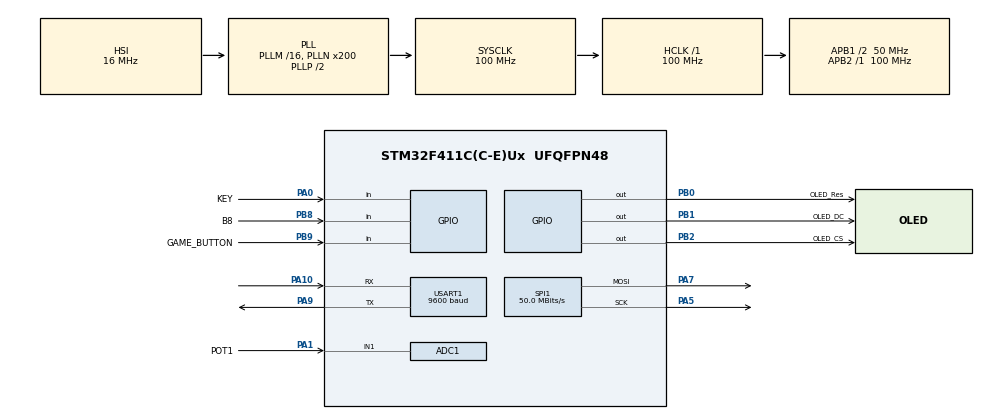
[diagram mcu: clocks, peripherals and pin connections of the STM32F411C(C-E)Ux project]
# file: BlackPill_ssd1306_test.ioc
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ADC1.Channel-0\#ChannelRegularConversion=ADC_CHANNEL_1
ADC1.NbrOfConversionFlag=1
ADC1.Rank-0\#ChannelRegularConversion=1
ADC1.SamplingTime-0\#ChannelRegularConversion=ADC_SAMPLETIME_3CYCLES
ADC1.master=1
Mcu.Family=STM32F4
Mcu.Name=STM32F411C(C-E)Ux
Mcu.Package=UFQFPN48
NVIC.PriorityGroup=NVIC_PRIORITYGROUP_4
NVIC.USART1_IRQn=true\:0\:0\:false\:false\:true\:true\:true\:true
PA0-WKUP.GPIO_Label=KEY
PA0-WKUP.GPIO_PuPd=GPIO_PULLUP
PA0-WKUP.Signal=GPIO_Input
PA1.GPIO_Label=POT1
PA1.Signal=ADCx_IN1
PA10.Mode=Asynchronous
PA10.Signal=USART1_RX
PA13.Mode=Serial_Wire
PA13.Signal=SYS_JTMS-SWDIO
PA14.Mode=Serial_Wire
PA14.Signal=SYS_JTCK-SWCLK
PA5.GPIO_PuPd=GPIO_PULLUP
PA5.Mode=TX_Only_Simplex_Unidirect_Master
PA5.Signal=SPI1_SCK
PA7.GPIO_PuPd=GPIO_PULLUP
PA7.Mode=TX_Only_Simplex_Unidirect_Master
PA7.Signal=SPI1_MOSI
PA9.Mode=Asynchronous
PA9.Signal=USART1_TX
PB0.GPIO_Label=OLED_Res
PB0.Signal=GPIO_Output
PB1.GPIO_Label=OLED_DC
PB1.Signal=GPIO_Output
PB2.GPIO_Label=OLED_CS
PB2.Signal=GPIO_Output
PB6.GPIO_Label=B6_SCL
PB6.Signal=I2C1_SCL
PB7.GPIO_Label=B7_SDA
PB7.Signal=I2C1_SDA
PB8.GPIO_Label=B8
PB8.Signal=GPIO_Input
PB9.GPIO_Label=GAME_BUTTON
PB9.GPIO_PuPd=GPIO_PULLUP
PB9.Signal=GPIO_Input
PC14-OSC32_IN.Mode=LSE-External-Oscillator
PC14-OSC32_IN.Signal=RCC_OSC32_IN
PC15-OSC32_OUT.Mode=LSE-External-Oscillator
PC15-OSC32_OUT.Signal=RCC_OSC32_OUT
PH0\ -\ OSC_IN.Mode=HSE-External-Oscillator
PH0\ -\ OSC_IN.Signal=RCC_OSC_IN
PH1\ -\ OSC_OUT.Mode=HSE-External-Oscillator
PH1\ -\ OSC_OUT.Signal=RCC_OSC_OUT
ProjectManager.HeapSize=0x200
ProjectManager.StackSize=0x400
ProjectManager.TargetToolchain=STM32CubeIDE
RCC.48MHZClocksFreq_Value=50000000
RCC.AHBFreq_Value=100000000
RCC.APB1CLKDivider=RCC_HCLK_DIV2
RCC.APB1Freq_Value=50000000
RCC.APB1TimFreq_Value=100000000
RCC.APB2Freq_Value=100000000
RCC.APB2TimFreq_Value=100000000
RCC.CortexFreq_Value=100000000
RCC.HCLKFreq_Value=100000000
RCC.HSE_VALUE=25000000
RCC.HSI_VALUE=16000000
RCC.PLLN=200
RCC.SYSCLKFreq_VALUE=100000000
RCC.SYSCLKSource=RCC_SYSCLKSOURCE_PLLCLK
RCC.VCOOutputFreq_Value=200000000
SH.ADCx_IN1.0=ADC1_IN1,IN1
SPI1.BaudRatePrescaler=SPI_BAUDRATEPRESCALER_2
SPI1.CLKPolarity=SPI_POLARITY_HIGH
SPI1.CalculateBaudRate=50.0 MBits/s
SPI1.Direction=SPI_DIRECTION_2LINES
SPI1.Mode=SPI_MODE_MASTER
SPI1.VirtualType=VM_MASTER
USART1.BaudRate=9600
USART1.VirtualMode=VM_ASYNC
board=custom

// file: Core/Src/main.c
/* USER CODE BEGIN Header */
/**
  * ****************************************************************************
  *
  * This is a simple implementation of the game BOUNCE!
  * It's a dumbed down version of the Breakout game invented by Steve Wozniak.
  * The game has no bricks at the top and the goal is just to bounce the ball
  * arround for as long as possible. Depending on which region of the paddle the
  * ball hits, you can get different amounts of points.
  *
  * This code is really basic, but I tried to comment this code as much as
  * possible. Feel free to modify and add functionalities.
  *
  * The purpose of this simple game implementations is to make use of the
  * ssd1306 oled 64p x 128p 0.96'' module with the STM32F411 (Black Pill) or
  * any STM32 board, provided that you modify the <ssd1306_BlackPill_conf.h> to
  * the device you are using.
  *
  * Here we use the SPI1 peripheral with 2 as the pre-scaler, but make it slower
  * if you need to. Use PA5 (Clock) and PA7(MOSI) as the SPI1 pins and turn the
  * pull-ups ON.
  *
  * PB0 is attached to the Res Pin of the Display.
  * PB1 is attached to the DC Pin of the Display.
  * PB2 is attached to the CS Pin of the Display.
  * PB9 is attached to the button and is called GAME_BUTTON with the pull-up ON.
  * 	When the button is pushed, it has to pull the pin down.
  * PA1 is attached to the center tap of the potentiometer.
  *
  * Code by ISAAC JERÔNIMO MOREIRA
  *
  * January 9th, 2023
  * Fortaleza, Ceará, Brasil
  *
  * ****************************************************************************
  *
  * The ssd1306 library was originally written by Olivier Van den Eede (4ilo) in
  * 2016.
  * Some refactoring was done and SPI support was added by Aleksander Alekseev
  * (afiskon) in 2018.
  *
  * *****************************************************************************
  */
/* USER CODE END Header */
#include "main.h"

/* USER CODE BEGIN Includes */
#include <stdio.h>
#include "ssd1306.h"

/* USER CODE END Includes */

/* USER CODE BEGIN PTD */
/*
	 * In order to understand this, bare in mind that the display begins it's coordinate system at the top left corner
	 * where the X and Y coordinates are 0.
	 * */
	#define edgeOffset 3 //Defines the offset of the border. It's equals the radius of the ball plus one pixel
	#define leftBorder edgeOffset // Defines the boundaries of the left border
	#define rightBorder (SSD1306_WIDTH - edgeOffset) // Defines the boundaries of the right Border. It's equals the Display Width minus the Edge Offset
	#define topBorder edgeOffset // Same as leftBorder
	#define bottonBorder (SSD1306_HEIGHT - edgeOffset) // Same logic as rightBorder
	#define paddleYborder (SSD1306_HEIGHT - edgeOffset - 1) // The Paddle is 1 pixel higher than the botton border.
	#define maxLife 5 // Every player starts with the maximum number of lives. Change this as you please,
	                  // or create a logic in game that can change this in different levels.
	#define adcmaxval 4096 // This is the resolution of the ADC inside the STM32 (12-bits)
	#define paddlelength 32 // This is the length of the paddle. Feel free to change it or create a logic in game that can change this in different levels.
	#define PotConverter (SSD1306_WIDTH - paddlelength)/adcmaxval // Just a small MAP function to convert the value read from the potentiometer
	                                                              // and convert it to the resolution of the screen. Feel free to change it as you need it.
	#define paddleCorner 6 // Defines the size of the corners of the paddle. The corners reflect the ball in a different way and give more points to the player
	#define MaxRefreshPeriod 50 // The speed of the game is ruled by a delay at the end of the loop. It's crude, but it works.

/* USER CODE END PTD */

ADC_HandleTypeDef hadc1;

SPI_HandleTypeDef hspi1;

UART_HandleTypeDef huart1;

/* USER CODE BEGIN PV */

// 8-Bits Unsigned Variables

uint8_t Xpos = edgeOffset, // Variable that tracks the X coordinate of the ball.
		Ypos = edgeOffset, // Variable that tracks the Y coordinate of the ball.
		Xvelocity = 3, // X component of the ball velocity.
		Yvelocity = 2, // Y component of the ball velocity.
		BGNDcolour = White, // Background colour
		ELMTScolour = Black, // Colour of the graphic elements;
		InGame = 0, // Flag that signals if the game is beeing played (1) or not (0).
		GameStarted = 0, //Flag that signals if the game has ever started (1) or not (0)
		playerLifenum = maxLife; // Variable to keep track of the playes lifes, initiated at the maximum.

// 16-Bits Unsignd Variables

  uint16_t paddlePos; // The position of the Paddle has to be 16 bits this variable is used multiple times
                      // to convert the 12-Bits ADC value read from the potentiometer to the correct range.
                      // We do this in order to conserve RAM as good practice, though this program isn't
                      // very complex or big;

// 32-Bites unsigned Variables (ARM-32)
  int StartTime = 0, // Stores the TickTimer current value. This number can be huge, so an INT is needed.
	  PresentTime = 0; // Keeps track of the time elapsed from the start of the game to the current time.
                       // Maybe the player is very good and has infinite patience to play this very exciting game
                       // so we have to accommodate them.

// Float Variables

  float potVal = 0;// It has to be a float in order to receive a multiplication by a float later. It will all make sense soon, I promise

// Signed Integer Variables

  signed int PaddleInteractions = 0,// keeps track of the paddle interactions to build the score
		         playerScorenum = 0, //keeps track of the score
			       topScorenum = 0, // keeps track of the highest score after each game
			       RefreshPeriod = MaxRefreshPeriod; // Used to control the refresh rate of the game.

  // Text buffers
  char playerLifetext[20], // Used to store the text converted from the number of Lives remaining
       playerScoretext[20], //Same logic
	     topScoretext[30]; // Same logic

/* USER CODE END PV */

void SystemClock_Config(void);
static void MX_GPIO_Init(void);
static void MX_SPI1_Init(void);
static void MX_USART1_UART_Init(void);
static void MX_ADC1_Init(void);

int main(void)
{

  /* MCU Configuration--------------------------------------------------------*/

  /* Reset of all peripherals, Initializes the Flash interface and the Systick. */
  HAL_Init();

  /* Configure the system clock */
  SystemClock_Config();

  /* Initialize all configured peripherals */
  MX_GPIO_Init();
  MX_SPI1_Init();
  MX_USART1_UART_Init();
  MX_ADC1_Init();
  /* USER CODE BEGIN 2 */

  /*
    * Ok, lets start now
    *
    * First of all, the display must be initiated. The library ssd1306.h has this function and it sends to
    * the ssd1306 display module a sequence of commands in order to initiate the displaying of graphics
    *
    * */

   ssd1306_Init();//Initiate display.

  /* USER CODE END 2 */

  /* Infinite loop */
  /* USER CODE BEGIN WHILE */
  while (1)
  {
	  if(GameStarted && InGame )//If the game has ever started and the player is playing
	  {
	  potVal = 0; // Starts the value read from the potentiometer as 0, otherwise it will start calculating averages with a previous read value
	  for(uint8_t i = 0; i < 50; i++)//acquires the ADC value 50 times
	  {
	  HAL_ADC_Start(&hadc1); //Starts the ADC module
	  HAL_ADC_PollForConversion(&hadc1, HAL_MAX_DELAY);// Start conversion from Analog to Digital
	  potVal += HAL_ADC_GetValue(&hadc1);// Sums the value read to the previously read values
	  }

	  potVal = potVal/50;//Calculates the average

	  paddlePos = potVal * PotConverter;//Small MAP conversion from the value read and averaged from the ADC

    ssd1306_Fill(BGNDcolour);//Draws the Background first

	  // Draws the paddle, which is consisted of 3 lines. The top line is shorter to make visible the corners.
	  // this could be done with a function, but given how short this code is, I just can't be bothered

	  ssd1306_Line(paddlePos, 63, paddlePos + paddlelength, 63, ELMTScolour);//paddle
	  ssd1306_Line(paddlePos, 62, paddlePos + paddlelength, 62, ELMTScolour);//paddle
	  ssd1306_Line(paddlePos  + paddleCorner, 61, paddlePos + paddlelength - paddleCorner, 61, ELMTScolour);//paddle

	  //Draws the score to the screen
    //Again, this could be done as a function, but the code is too short and simple.
	  ssd1306_SetCursor(2, 2);// sets the cursor to a fixed position X = 2 and Y = 2
	  sprintf(playerScoretext, "Score: %d", playerScorenum);// converts the score number to the score text (int to string)
	  ssd1306_WriteString(playerScoretext, Font_6x8, ELMTScolour);//draws it to the screen

	  //Draws the players Lives to the screen. The logic is the same as the score drawing, but a little math is needed first
	  playerLifenum = (playerLifenum <= 0)? maxLife : playerLifenum;//just make sure that there is no negative lives.

	  sprintf(playerLifetext, "Lives: %d", playerLifenum);
	  ssd1306_SetCursor(79, 2);
	  ssd1306_WriteString(playerLifetext, Font_6x8, ELMTScolour);

	  //Here the ball is drawn
	  ssd1306_FillCircle(Xpos,Ypos,2, ELMTScolour);//The ball is a filled circle
	  ssd1306_DrawPixel(Xpos-1, Ypos-1, BGNDcolour );//with a little pixel as the reflection

	  //Finally the screen is updated
	  ssd1306_UpdateScreen();

      /*Everything that follows will be shown at the next frame.
       *
       * This is done so the start of the game is shown the first time it starts. Something like a DO WHILE loop.
       *
	   */

	  //First the position of the ball is calculated
	  //Here we use the uniform linear motion equation, simplified. The time base is the frame rate.
	  Xpos += Xvelocity;
	  Ypos += Yvelocity;

	  //Here We implement the paddle interaction with the ball
	  if(Ypos >= paddleYborder)// If the ball is at the Y coordinate of the paddle
	  {
		if(((Xpos >= (paddlePos + paddleCorner))&&(Xpos <= (paddlePos + paddlelength - paddleCorner))))//and if the ball is at the center portion of the paddle
		{
			if(Xpos == (paddlePos + (paddlelength/2)))//and if the ball is at the absolute center of the paddle
			{
				uint8_t swap = Yvelocity;//we swap the X and Y components of the velocity to give the game a different dinamic
				Yvelocity = -Xvelocity;//The paddle reflects the ball as the physics mandates
				Xvelocity = swap;
				PaddleInteractions += 100;//This is very difficult to do, so the player deserves a lot of points
			}else
			{
			Yvelocity = - Yvelocity;// If the ball is at the center portion but not at the absolute center,
			PaddleInteractions += 5;// The payer gets just 5 points, because it's easy to hit those spots
			RefreshPeriod--;//the game gets a little bit faster
			}
		}else{
			if(
			   ((Xpos > (paddlePos))&&((Xpos < (paddlePos + paddleCorner)))) ||
		      ((Xpos > (paddlePos + paddlelength - paddleCorner)) && (Xpos < (paddlePos + paddlelength)))
			  )//If the ball hits the edges of the paddle
			{
			Yvelocity = -Yvelocity; // The ball reverses the vector of it's motion
			Xvelocity = -Xvelocity; // at a slight angle (making it go back from the path it too to get there)
			PaddleInteractions += 10; //The player gets 10 points because its a little more difficult to hit the edges
			RefreshPeriod -= 2; // The game gets a little bit faster
			}
		}
	  }

	  //Here We implement the interactions with the walls of the display

	  // if the ball hits the right or left walls, it bounces IE it
	  // reverses the direction of the X velocity vector.
	  if(Xpos < leftBorder)
	  {
		  Xpos = leftBorder;
		  Xvelocity = - Xvelocity;
	  }
	  if(Xpos > rightBorder)
	  {
		  Xpos = rightBorder;
		  Xvelocity = - Xvelocity;
	  }

	  // If the ball hits the botton
	  if(Ypos > bottonBorder){
		  uint8_t swap = Yvelocity;//we swap the X and Y components of the velocity to give the game a different dinamic
		  Yvelocity = -Xvelocity;//The paddle reflects the ball as the physics mandates
		  Xvelocity = swap;
	 	  playerLifenum--;//Takes one life from the player
	 	  PaddleInteractions -= 10;//Takes 10 points from the player
	 	  Xpos = edgeOffset;// Restarts the position of the ball so it goes back to the top left corner
	 	  Ypos = edgeOffset;
	 	  RefreshPeriod -=2;//Makes the game a lot faster
	  }
	  if(Ypos < topBorder){//If it hits the top, it bounces. U know the drill
	 	  Ypos = topBorder;
	 	  Yvelocity = - Yvelocity;
	  }

	  //Here we handle the game state
	  InGame = (playerLifenum == 0)? 0 : 1;//If the player looses all its lives, we flag the game to stop

	  PresentTime = (HAL_GetTick() - StartTime)/1000;//Every time the frame is updated, we update the time elapsed from the start of the game
	  playerScorenum = PaddleInteractions + PresentTime;// The score is calculated. It takes into account the paddle interactions
	                                                    // and how long the player lasted in game.

	  }else
	  {
		  if(GameStarted)//If the game has ever started, we show a game over screen
		  {
			  //HAL_Delay(500);
			  ssd1306_Fill(Black);//filed
			  ssd1306_SetCursor(16, 2);
			  ssd1306_WriteString("GAME OVER", Font_11x18, White);

			  topScorenum = (playerScorenum > topScorenum)? playerScorenum : topScorenum;//If the player has the highest score, the top Score is updated

			  //Here we display the information
			  ssd1306_SetCursor(15, 29);
			  sprintf(topScoretext, "Top Score: %d", topScorenum);
			  ssd1306_WriteString(topScoretext, Font_7x10, White);

			  ssd1306_SetCursor(25, 40);
			  sprintf(playerScoretext, "Score: %d", playerScorenum);
			  ssd1306_WriteString(playerScoretext, Font_7x10, White);
			  ssd1306_SetCursor(31, 51);
			  ssd1306_WriteString("Press START", Font_6x8, White);
			  ssd1306_UpdateScreen();

		  }else
		  {
			  //This is the start screen
			  ssd1306_Fill(Black);//filled
			  ssd1306_SetCursor(10, 11);
			  ssd1306_WriteString("BOUNCE!", Font_16x26, White);
			  ssd1306_SetCursor(31, 40);
			  ssd1306_WriteString("Press START", Font_6x8, White);
			  ssd1306_SetCursor(13, 55);
			  ssd1306_WriteString("BY: ISAAC MOREIRA", Font_6x8, White);
			  ssd1306_UpdateScreen();
		  }
		  if(0 == HAL_GPIO_ReadPin(GAME_BUTTON_GPIO_Port, GAME_BUTTON_Pin))// Reads the Start Button input
			                                                               // Here we don't make any debouncing. In this case, it isn't needed
		  {
		 	   InGame = 1;//Flag that the game has started
		 	   GameStarted = 1; //We have played at least once
		 	   StartTime = HAL_GetTick();// Gets the time the game started
		 	   Ypos = edgeOffset; //Puts the ball at the left top corner
		 	   Xpos = edgeOffset;
		 	   PaddleInteractions = 0; //There has been no interactions with the paddle
		 	   RefreshPeriod = MaxRefreshPeriod; //The game starts slow
		 	   Xvelocity = 3;//We reset the velocity components
		 	   Yvelocity = 2;//
		   }

	  }

	  RefreshPeriod = (RefreshPeriod < 10)? 10 : RefreshPeriod;//Makes sure that the game doesn't run too fast
	  HAL_Delay(RefreshPeriod);//Dictates the frame rate of the game

    /* USER CODE END WHILE */

  }
}

void SystemClock_Config(void)
{
  RCC_OscInitTypeDef RCC_OscInitStruct = {0};
  RCC_ClkInitTypeDef RCC_ClkInitStruct = {0};

  /** Configure the main internal regulator output voltage
  */
  __HAL_RCC_PWR_CLK_ENABLE();
  __HAL_PWR_VOLTAGESCALING_CONFIG(PWR_REGULATOR_VOLTAGE_SCALE1);

  /** Initializes the RCC Oscillators according to the specified parameters
  * in the RCC_OscInitTypeDef structure.
  */
  RCC_OscInitStruct.OscillatorType = RCC_OSCILLATORTYPE_HSI;
  RCC_OscInitStruct.HSIState = RCC_HSI_ON;
  RCC_OscInitStruct.HSICalibrationValue = RCC_HSICALIBRATION_DEFAULT;
  RCC_OscInitStruct.PLL.PLLState = RCC_PLL_ON;
  RCC_OscInitStruct.PLL.PLLSource = RCC_PLLSOURCE_HSI;
  RCC_OscInitStruct.PLL.PLLM = 16;
  RCC_OscInitStruct.PLL.PLLN = 200;
  RCC_OscInitStruct.PLL.PLLP = RCC_PLLP_DIV2;
  RCC_OscInitStruct.PLL.PLLQ = 4;
  if (HAL_RCC_OscConfig(&RCC_OscInitStruct) != HAL_OK)
  {
    Error_Handler();
  }

  /** Initializes the CPU, AHB and APB buses clocks
  */
  RCC_ClkInitStruct.ClockType = RCC_CLOCKTYPE_HCLK|RCC_CLOCKTYPE_SYSCLK
                              |RCC_CLOCKTYPE_PCLK1|RCC_CLOCKTYPE_PCLK2;
  RCC_ClkInitStruct.SYSCLKSource = RCC_SYSCLKSOURCE_PLLCLK;
  RCC_ClkInitStruct.AHBCLKDivider = RCC_SYSCLK_DIV1;
  RCC_ClkInitStruct.APB1CLKDivider = RCC_HCLK_DIV2;
  RCC_ClkInitStruct.APB2CLKDivider = RCC_HCLK_DIV1;

  if (HAL_RCC_ClockConfig(&RCC_ClkInitStruct, FLASH_LATENCY_3) != HAL_OK)
  {
    Error_Handler();
  }
}

static void MX_ADC1_Init(void)
{

  ADC_ChannelConfTypeDef sConfig = {0};

  /** Configure the global features of the ADC (Clock, Resolution, Data Alignment and number of conversion)
  */
  hadc1.Instance = ADC1;
  hadc1.Init.ClockPrescaler = ADC_CLOCK_SYNC_PCLK_DIV4;
  hadc1.Init.Resolution = ADC_RESOLUTION_12B;
  hadc1.Init.ScanConvMode = DISABLE;
  hadc1.Init.ContinuousConvMode = DISABLE;
  hadc1.Init.DiscontinuousConvMode = DISABLE;
  hadc1.Init.ExternalTrigConvEdge = ADC_EXTERNALTRIGCONVEDGE_NONE;
  hadc1.Init.ExternalTrigConv = ADC_SOFTWARE_START;
  hadc1.Init.DataAlign = ADC_DATAALIGN_RIGHT;
  hadc1.Init.NbrOfConversion = 1;
  hadc1.Init.DMAContinuousRequests = DISABLE;
  hadc1.Init.EOCSelection = ADC_EOC_SINGLE_CONV;
  if (HAL_ADC_Init(&hadc1) != HAL_OK)
  {
    Error_Handler();
  }

  /** Configure for the selected ADC regular channel its corresponding rank in the sequencer and its sample time.
  */
  sConfig.Channel = ADC_CHANNEL_1;
  sConfig.Rank = 1;
  sConfig.SamplingTime = ADC_SAMPLETIME_3CYCLES;
  if (HAL_ADC_ConfigChannel(&hadc1, &sConfig) != HAL_OK)
  {
    Error_Handler();
  }

}

static void MX_SPI1_Init(void)
{

  /* SPI1 parameter configuration*/
  hspi1.Instance = SPI1;
  hspi1.Init.Mode = SPI_MODE_MASTER;
  hspi1.Init.Direction = SPI_DIRECTION_2LINES;
  hspi1.Init.DataSize = SPI_DATASIZE_8BIT;
  hspi1.Init.CLKPolarity = SPI_POLARITY_HIGH;
  hspi1.Init.CLKPhase = SPI_PHASE_1EDGE;
  hspi1.Init.NSS = SPI_NSS_SOFT;
  hspi1.Init.BaudRatePrescaler = SPI_BAUDRATEPRESCALER_2;
  hspi1.Init.FirstBit = SPI_FIRSTBIT_MSB;
  hspi1.Init.TIMode = SPI_TIMODE_DISABLE;
  hspi1.Init.CRCCalculation = SPI_CRCCALCULATION_DISABLE;
  hspi1.Init.CRCPolynomial = 10;
  if (HAL_SPI_Init(&hspi1) != HAL_OK)
  {
    Error_Handler();
  }

}

static void MX_USART1_UART_Init(void)
{

  huart1.Instance = USART1;
  huart1.Init.BaudRate = 9600;
  huart1.Init.WordLength = UART_WORDLENGTH_8B;
  huart1.Init.StopBits = UART_STOPBITS_1;
  huart1.Init.Parity = UART_PARITY_NONE;
  huart1.Init.Mode = UART_MODE_TX_RX;
  huart1.Init.HwFlowCtl = UART_HWCONTROL_NONE;
  huart1.Init.OverSampling = UART_OVERSAMPLING_16;
  if (HAL_UART_Init(&huart1) != HAL_OK)
  {
    Error_Handler();
  }

}

static void MX_GPIO_Init(void)
{
  GPIO_InitTypeDef GPIO_InitStruct = {0};

  /* GPIO Ports Clock Enable */
  __HAL_RCC_GPIOC_CLK_ENABLE();
  __HAL_RCC_GPIOH_CLK_ENABLE();
  __HAL_RCC_GPIOA_CLK_ENABLE();
  __HAL_RCC_GPIOB_CLK_ENABLE();

  /*Configure GPIO pin Output Level */
  HAL_GPIO_WritePin(GPIOB, OLED_Res_Pin|OLED_DC_Pin|OLED_CS_Pin, GPIO_PIN_RESET);

  /*Configure GPIO pin : KEY_Pin */
  GPIO_InitStruct.Pin = KEY_Pin;
  GPIO_InitStruct.Mode = GPIO_MODE_INPUT;
  GPIO_InitStruct.Pull = GPIO_PULLUP;
  HAL_GPIO_Init(KEY_GPIO_Port, &GPIO_InitStruct);

  /*Configure GPIO pins : OLED_Res_Pin OLED_DC_Pin OLED_CS_Pin */
  GPIO_InitStruct.Pin = OLED_Res_Pin|OLED_DC_Pin|OLED_CS_Pin;
  GPIO_InitStruct.Mode = GPIO_MODE_OUTPUT_PP;
  GPIO_InitStruct.Pull = GPIO_NOPULL;
  GPIO_InitStruct.Speed = GPIO_SPEED_FREQ_LOW;
  HAL_GPIO_Init(GPIOB, &GPIO_InitStruct);

  /*Configure GPIO pins : B6_SCL_Pin B7_SDA_Pin */
  GPIO_InitStruct.Pin = B6_SCL_Pin|B7_SDA_Pin;
  GPIO_InitStruct.Mode = GPIO_MODE_AF_OD;
  GPIO_InitStruct.Pull = GPIO_NOPULL;
  GPIO_InitStruct.Speed = GPIO_SPEED_FREQ_VERY_HIGH;
  GPIO_InitStruct.Alternate = GPIO_AF4_I2C1;
  HAL_GPIO_Init(GPIOB, &GPIO_InitStruct);

  /*Configure GPIO pin : B8_Pin */
  GPIO_InitStruct.Pin = B8_Pin;
  GPIO_InitStruct.Mode = GPIO_MODE_INPUT;
  GPIO_InitStruct.Pull = GPIO_NOPULL;
  HAL_GPIO_Init(B8_GPIO_Port, &GPIO_InitStruct);

  /*Configure GPIO pin : GAME_BUTTON_Pin */
  GPIO_InitStruct.Pin = GAME_BUTTON_Pin;
  GPIO_InitStruct.Mode = GPIO_MODE_INPUT;
  GPIO_InitStruct.Pull = GPIO_PULLUP;
  HAL_GPIO_Init(GAME_BUTTON_GPIO_Port, &GPIO_InitStruct);

}

void Error_Handler(void)
{
  __disable_irq();
  while (1)
  {
  }
}
